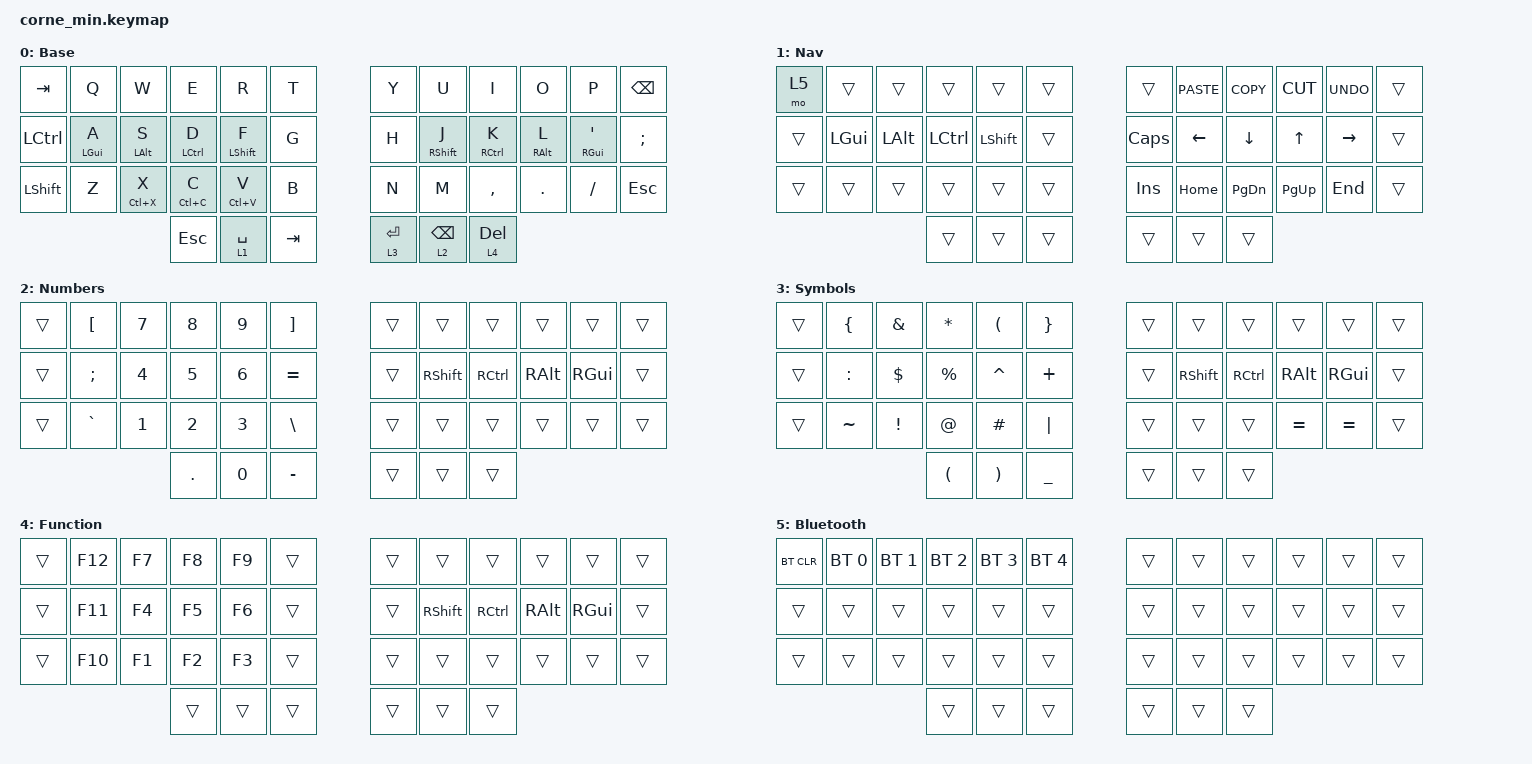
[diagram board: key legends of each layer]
/*
 * Copyright (c) 2020 The ZMK Contributors
 *
 * SPDX-License-Identifier: MIT
 */

#include <behaviors.dtsi>
#include <dt-bindings/zmk/keys.h>
#include <dt-bindings/zmk/bt.h>

/ {
        behaviors {
                // Mimics QMK's TAPPING_TERM (200ms) + PERMISSIVE_HOLD, used for
                // home row mods and the cut/copy/paste hold-taps ported from Aurora Lily.
                hm: homerow_mod {
                        compatible = "zmk,behavior-hold-tap";
                        #binding-cells = <2>;
                        display-name = "Homerow Mod";
                        flavor = "balanced";
                        tapping-term-ms = <200>;
                        bindings = <&kp>, <&kp>;
                };

                // Same timing/flavor as hm, but for layer-taps (QMK's LT()), which
                // also honored TAPPING_TERM + PERMISSIVE_HOLD in the source keymap.
                ltb: layer_tap_balanced {
                        compatible = "zmk,behavior-hold-tap";
                        #binding-cells = <2>;
                        display-name = "Layer-Tap Balanced";
                        flavor = "balanced";
                        tapping-term-ms = <200>;
                        bindings = <&mo>, <&kp>;
                };
        };

        combos {
                compatible = "zmk,combos";

                // Hold all 3 left thumb keys together (base layer only) to reboot
                // the LEFT half into the UF2 bootloader. Per Mechboards' ZMK
                // flashing guide, this needs to be reachable from the default
                // layer independently per half (no cross-half layer chording),
                // since a half may need to bootloader on its own if the split
                // link is down. The physical RESET button (double-tap) is the
                // fallback if a half can't even run its own firmware.
                combo_bootloader_left {
                        timeout-ms = <50>;
                        key-positions = <36 37 38>;
                        layers = <0>;
                        bindings = <&bootloader>;
                };

                combo_bootloader_right {
                        timeout-ms = <50>;
                        key-positions = <39 40 41>;
                        layers = <0>;
                        bindings = <&bootloader>;
                };
        };

        keymap {
                compatible = "zmk,keymap";

                default_layer {
                            display-name = "Base";
// -----------------------------------------------------------------------------------------
// |  TAB |  Q  |  W  |  E  |  R  |  T  |   |  Y  |  U   |  I  |  O  |  P   | BSPC |
// | CTRL | GA  | AS  | CD  | SF  |  G  |   |  H  | SJ   | CK  | AL  | GQ'  | SEMI |
// | SHFT |  Z  | CX  | CC  | CV  |  B  |   |  N  |  M   |  ,  |  .  |  /   | ESC  |
//                    | ESC |SPC/NAV| TAB |   |ENT/SYM|BSPC/NUM|DEL/FUN|
// GA/AS/CD/SF/SJ/CK/AL/GQ = home row mods (GUI/ALT/CTRL/SHIFT tap-hold)
// CX/CC/CV = tap X/C/V, hold Ctrl+X/C/V (ported from Aurora Lily's copy/cut/paste keys)
// SPC/NAV, ENT/SYM, BSPC/NUM, DEL/FUN = tap for the plain key, hold for that layer
                        bindings = <
   &kp TAB   &kp Q          &kp W          &kp E          &kp R          &kp T       &kp Y  &kp U            &kp I            &kp O          &kp P            &kp BSPC
   &kp LCTRL &hm LGUI A     &hm LALT S     &hm LCTRL D    &hm LSHFT F    &kp G       &kp H  &hm RSHFT J      &hm RCTRL K      &hm RALT L     &hm RGUI SQT     &kp SEMI
   &kp LSHFT &kp Z          &hm LC(X) X    &hm LC(C) C    &hm LC(V) V    &kp B       &kp N  &kp M            &kp COMMA        &kp DOT        &kp FSLH         &kp ESC
                                           &kp ESC        &ltb 1 SPACE   &kp TAB     &ltb 3 RET  &ltb 2 BSPC  &ltb 4 DEL
                        >;
                };

                nav_layer {
                        display-name = "Nav";
// -----------------------------------------------------------------------------------------
// | BT   |     |     |     |     |     |   |     |PASTE|COPY |CUT  |UNDO  |      |
// |      | GUI | ALT | CTRL| SHFT|     |   | CAPS| LEFT| DOWN| UP  | RGHT |      |
// |      |     |     |     |     |     |   |     | INS |HOME |PGDN |PGUP  | END  |
//                    |     |     |     |   |     |     |     |
                        bindings = <
   &mo 5   &trans     &trans     &trans     &trans     &trans      &trans   &kp K_PASTE &kp K_COPY &kp K_CUT  &kp K_UNDO &trans
   &trans  &kp LGUI   &kp LALT   &kp LCTRL  &kp LSHFT  &trans      &kp CAPS &kp LEFT    &kp DOWN   &kp UP     &kp RIGHT  &trans
   &trans  &trans     &trans     &trans     &trans     &trans      &kp INS  &kp HOME    &kp PG_DN  &kp PG_UP  &kp END    &trans
                                  &trans     &trans     &trans      &trans   &trans      &trans
                        >;
                };

                num_layer {
                        display-name = "Numbers";
// -----------------------------------------------------------------------------------------
// |      |  [  |  7  |  8  |  9  |  ]  |   |     |     |     |     |     |      |
// |      |  ;  |  4  |  5  |  6  |  =  |   |     |RSFT |RCTL |RALT |RGUI |      |
// |      |  `  |  1  |  2  |  3  |  \  |   |     |     |     |     |     |      |
//                    |     |  .  |  0  |   |  -  |     |     |
                        bindings = <
   &trans  &kp LBKT   &kp N7     &kp N8     &kp N9     &kp RBKT    &trans  &trans     &trans     &trans     &trans     &trans
   &trans  &kp SEMI   &kp N4     &kp N5     &kp N6     &kp EQUAL   &trans  &kp RSHFT  &kp RCTRL  &kp RALT   &kp RGUI   &trans
   &trans  &kp GRAVE  &kp N1     &kp N2     &kp N3     &kp BSLH    &trans  &trans     &trans     &trans     &trans     &trans
                                 &kp DOT    &kp N0     &kp MINUS   &trans  &trans     &trans
                        >;
                };

                sym_layer {
                        display-name = "Symbols";
// -----------------------------------------------------------------------------------------
// |      |  {  |  &  |  *  |  (  |  }  |   |     |     |     |     |     |      |
// |      |  :  |  $  |  %  |  ^  |  +  |   |     |RSFT |RCTL |RALT |RGUI |      |
// |      |  ~  |  !  |  @  |  #  |  |  |   |     |     |     |  =  |  =  |      |
//                    |     |  (  |  )  |   |  _  |     |     |
                        bindings = <
   &trans  &kp LBRC   &kp AMPS   &kp ASTRK  &kp LPAR   &kp RBRC    &trans  &trans     &trans     &trans     &trans     &trans
   &trans  &kp COLON  &kp DLLR   &kp PRCNT  &kp CARET  &kp PLUS    &trans  &kp RSHFT  &kp RCTRL  &kp RALT   &kp RGUI   &trans
   &trans  &kp TILDE  &kp EXCL   &kp AT     &kp HASH   &kp PIPE    &trans  &trans     &trans     &kp EQUAL  &kp EQUAL  &trans
                                 &kp LPAR   &kp RPAR   &kp UNDER   &trans  &trans     &trans
                        >;
                };

                fun_layer {
                        display-name = "Function";
// -----------------------------------------------------------------------------------------
// |      | F12 | F7  | F8  | F9  |     |   |     |     |     |     |     |      |
// |      | F11 | F4  | F5  | F6  |     |   |     |RSFT |RCTL |RALT |RGUI |      |
// |      | F10 | F1  | F2  | F3  |     |   |     |     |     |     |     |      |
//                    |     |     |     |   |     |     |     |
                        bindings = <
   &trans  &kp F12    &kp F7     &kp F8     &kp F9     &trans      &trans  &trans     &trans     &trans     &trans     &trans
   &trans  &kp F11    &kp F4     &kp F5     &kp F6     &trans      &trans  &kp RSHFT  &kp RCTRL  &kp RALT   &kp RGUI   &trans
   &trans  &kp F10    &kp F1     &kp F2     &kp F3     &trans      &trans  &trans     &trans     &trans     &trans     &trans
                                 &trans     &trans     &trans      &trans  &trans     &trans
                        >;
                };

                bt_layer {
                        display-name = "Bluetooth";
// -----------------------------------------------------------------------------------------
// |BTCLR| BT1 | BT2 | BT3 | BT4 | BT5 |   |     |     |     |     |     |      |
// Reached via NAV layer's top-left key: hold SPACE (-> Nav), then also hold
// the TAB-position key (-> this layer), then tap a key on the top row.
// Not part of the QMK source (Aurora Lily is USB-only) -- added since this
// board is wireless and needs a way to switch/clear Bluetooth profiles.
// (Bootloader entry is a combo on the base layer instead -- see top of file.)
                        bindings = <
   &bt BT_CLR &bt BT_SEL 0 &bt BT_SEL 1 &bt BT_SEL 2 &bt BT_SEL 3 &bt BT_SEL 4   &trans &trans &trans &trans &trans &trans
   &trans     &trans       &trans       &trans       &trans       &trans         &trans &trans &trans &trans &trans &trans
   &trans     &trans       &trans       &trans       &trans       &trans         &trans &trans &trans &trans &trans &trans
                                        &trans       &trans       &trans         &trans &trans &trans
                        >;
                };
        };
};
